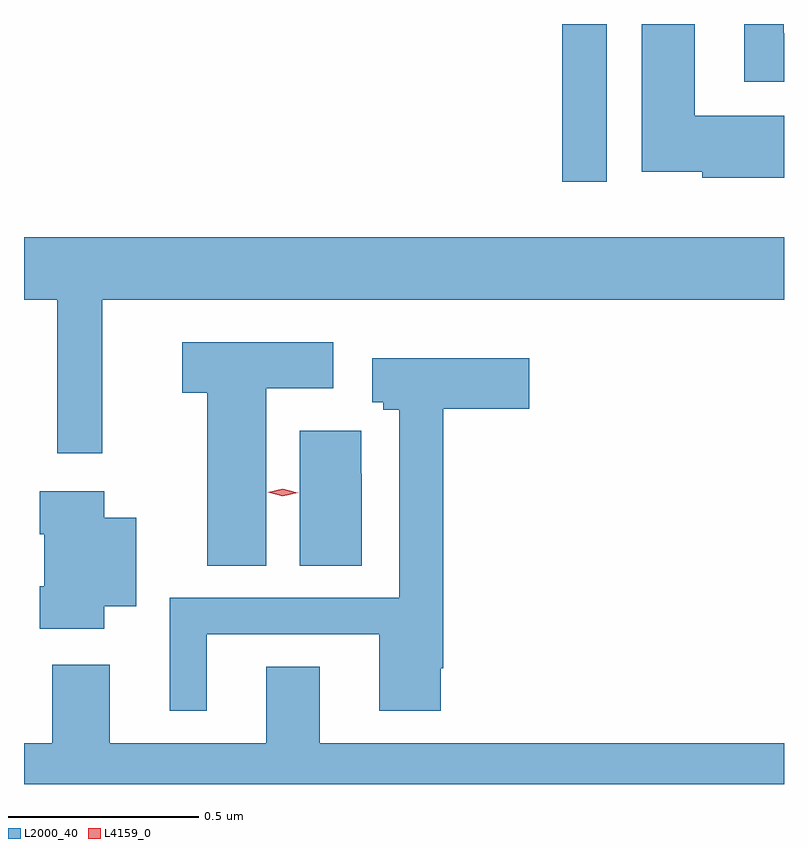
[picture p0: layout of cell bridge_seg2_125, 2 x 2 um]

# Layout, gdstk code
import gdstk
lib = gdstk.Library(unit=1e-6, precision=1e-09)
def R(c, l, rs):  # rectangles x0, y0, x1, y1
    for r in rs: c.add(gdstk.rectangle(r[:2], r[2:], *l))
def P(c, l, *ps):  # polygons
    for p in ps: c.add(gdstk.Polygon(p, *l))
L2000_40 = (2000, 40)
L4159_0 = (4159, 0)

bridge_seg2_125 = lib.new_cell('bridge_seg2_125')
R(bridge_seg2_125, L2000_40, [(454.642,626.634,454.758,627.049)])
P(bridge_seg2_125, L2000_40, [(455.225,627.025),(455.224,627.025),(455.224,627.049),(455.12,627.049),(455.12,626.897),(455.225,626.897)],
  [(455.225,626.808),(454.99,626.808),(454.99,627.049),(454.85,627.049),(454.85,626.66),(455.01,626.66),(455.01,626.645),(455.225,626.645)],
  [(453.431,626.324),(455.225,626.324),(455.225,626.488),(453.225,626.488),(453.225,626.324),(453.313,626.324),(453.313,625.92),(453.431,625.92)],
  [(453.862,626.09),(454.039,626.09),(454.039,626.212),(453.642,626.212),(453.642,626.078),(453.707,626.078),(453.707,625.624),(453.862,625.624)],
  [(453.706,625.443),(454.16,625.443),(454.16,625.242),(454.322,625.242),(454.322,625.354),(454.328,625.354),(454.328,626.036),(454.555,626.036),(454.555,626.17),(454.141,626.17),(454.141,626.053),(454.17,626.053),(454.17,626.034),(454.212,626.034),(454.212,625.539),(453.608,625.539),(453.608,625.242),(453.706,625.242)],
  [(454.114,625.865),(454.112,625.865),(454.112,625.978),(453.95,625.978),(453.95,625.624),(454.114,625.624)],
  [(453.436,625.517),(453.52,625.517),(453.52,625.75),(453.436,625.75),(453.436,625.819),(453.266,625.819),(453.266,625.706),(453.278,625.706),(453.278,625.57),(453.266,625.57),(453.266,625.458),(453.436,625.458)],
  [(455.225,625.156),(454.003,625.156),(454.003,625.358),(453.863,625.358),(453.863,625.156),(453.451,625.156),(453.451,625.363),(453.299,625.363),(453.299,625.156),(453.225,625.156),(453.225,625.049),(455.225,625.049)])
P(bridge_seg2_125, L4159_0, [(453.906,625.806),(453.866,625.817),(453.866,625.817),(453.866,625.817),(453.906,625.826),(453.946,625.816),(453.947,625.816),(453.946,625.816)])

lib.write_gds('bridge_seg2_125.gds')
